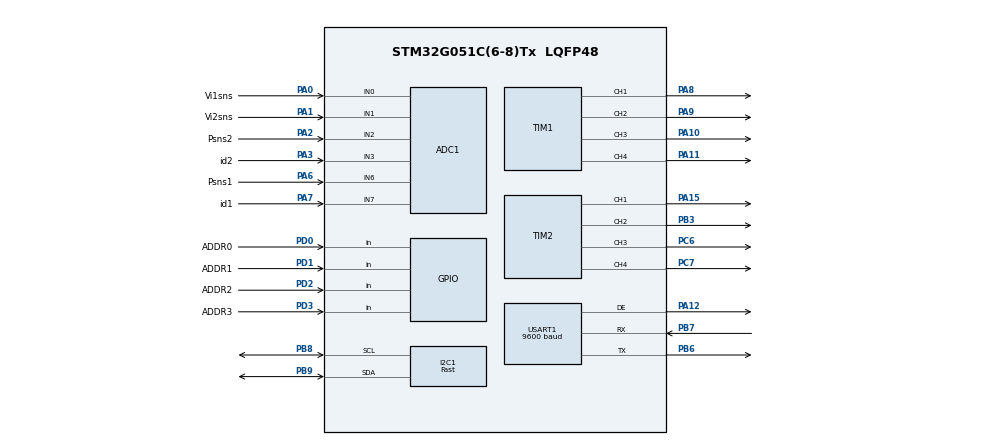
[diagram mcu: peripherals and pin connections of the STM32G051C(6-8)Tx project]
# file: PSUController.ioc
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ADC1.Channel-1\#ChannelRegularConversion=ADC_CHANNEL_TEMPSENSOR
ADC1.EnableAnalogWatchDog1=false
ADC1.NbrOfConversionFlag=1
ADC1.OversamplingMode=ENABLE
ADC1.Rank-1\#ChannelRegularConversion=1
ADC1.Ratio=ADC_OVERSAMPLING_RATIO_256
ADC1.RightBitShift=ADC_RIGHTBITSHIFT_4
ADC1.SamplingTime-1\#ChannelRegularConversion=ADC_SAMPLINGTIME_COMMON_1
ADC1.SelectedChannel=ADC_CHANNEL_0|ADC_CHANNEL_1|ADC_CHANNEL_2|ADC_CHANNEL_3|ADC_CHANNEL_6|ADC_CHANNEL_7|ADC_CHANNEL_TEMPSENSOR
ADC1.master=1
I2C1.I2C_Speed_Mode=I2C_Fast
I2C1.Timing=0x00C12166
Mcu.Family=STM32G0
Mcu.Name=STM32G051C(6-8)Tx
Mcu.Package=LQFP48
NVIC.USART1_IRQn=true\:0\:0\:false\:false\:true\:true\:true\:true
PA0.GPIO_Label=Vi1sns
PA0.Mode=IN0
PA0.Signal=ADC1_IN0
PA1.GPIO_Label=Vi2sns
PA1.Mode=IN1
PA1.Signal=ADC1_IN1
PA10.Signal=S_TIM1_CH3
PA11\ [PA9].Signal=S_TIM1_CH4
PA12\ [PA10].Mode=Hardware Flow Control (RS485)
PA12\ [PA10].Signal=USART1_DE
PA13.Mode=Serial_Wire
PA13.Signal=SYS_SWDIO
PA14-BOOT0.Mode=Serial_Wire
PA14-BOOT0.Signal=SYS_SWCLK
PA15.Signal=S_TIM2_CH1_ETR
PA2.GPIO_Label=Psns2
PA2.Mode=IN2
PA2.Signal=ADC1_IN2
PA3.GPIO_Label=id2
PA3.Mode=IN3
PA3.Signal=ADC1_IN3
PA6.GPIO_Label=Psns1
PA6.Mode=IN6
PA6.Signal=ADC1_IN6
PA7.GPIO_Label=id1
PA7.Mode=IN7
PA7.Signal=ADC1_IN7
PA8.Signal=S_TIM1_CH1
PA9.Signal=S_TIM1_CH2
PB3.Signal=S_TIM2_CH2
PB6.Mode=Asynchronous
PB6.Signal=USART1_TX
PB7.Mode=Asynchronous
PB7.Signal=USART1_RX
PB8.GPIO_Pu=GPIO_PULLUP
PB8.Mode=I2C
PB8.Signal=I2C1_SCL
PB9.GPIO_Pu=GPIO_PULLUP
PB9.Mode=I2C
PB9.Signal=I2C1_SDA
PC6.Signal=S_TIM2_CH3
PC7.Signal=S_TIM2_CH4
PD0.GPIO_Label=ADDR0
PD0.Signal=GPIO_Input
PD1.GPIO_Label=ADDR1
PD1.Signal=GPIO_Input
PD2.GPIO_Label=ADDR2
PD2.Signal=GPIO_Input
PD3.GPIO_Label=ADDR3
PD3.Signal=GPIO_Input
ProjectManager.HeapSize=0x200
ProjectManager.StackSize=0x400
ProjectManager.TargetToolchain=CMake
RCC.ADCFreq_Value=64000000
RCC.AHBFreq_Value=64000000
RCC.CortexFreq_Value=64000000
RCC.EXTERNAL_CLOCK_VALUE=48000
RCC.HCLKFreq_Value=64000000
RCC.HSE_VALUE=8000000
RCC.HSI_VALUE=16000000
RCC.LSE_VALUE=32768
RCC.SYSCLKFreq_VALUE=64000000
RCC.SYSCLKSource=RCC_SYSCLKSOURCE_PLLCLK
RCC.VCOOutputFreq_Value=128000000
SH.S_TIM1_CH1.0=TIM1_CH1,PWM Generation1 CH1
SH.S_TIM1_CH2.0=TIM1_CH2,PWM Generation2 CH2
SH.S_TIM1_CH3.0=TIM1_CH3,PWM Generation3 CH3
SH.S_TIM1_CH4.0=TIM1_CH4,PWM Generation4 CH4
SH.S_TIM2_CH1_ETR.0=TIM2_CH1,PWM Generation1 CH1
SH.S_TIM2_CH2.0=TIM2_CH2,PWM Generation2 CH2
SH.S_TIM2_CH3.0=TIM2_CH3,PWM Generation3 CH3
SH.S_TIM2_CH4.0=TIM2_CH4,PWM Generation4 CH4
TIM1.Channel-PWM\ Generation1\ CH1=TIM_CHANNEL_1
TIM1.Channel-PWM\ Generation2\ CH2=TIM_CHANNEL_2
TIM1.Channel-PWM\ Generation3\ CH3=TIM_CHANNEL_3
TIM1.Channel-PWM\ Generation4\ CH4=TIM_CHANNEL_4
TIM2.Channel-PWM\ Generation1\ CH1=TIM_CHANNEL_1
TIM2.Channel-PWM\ Generation2\ CH2=TIM_CHANNEL_2
TIM2.Channel-PWM\ Generation3\ CH3=TIM_CHANNEL_3
TIM2.Channel-PWM\ Generation4\ CH4=TIM_CHANNEL_4
USART1.AutoBaudRateEnableParam=UART_ADVFEATURE_AUTOBAUDRATE_DISABLE
USART1.BaudRate=9600
USART1.VirtualMode-Asynchronous=VM_ASYNC
USART1.VirtualMode-Hardware\ Flow\ Control\ (RS485)=VM_ASYNC
VP_ADC1_TempSens_Input.Mode=IN-TempSens
VP_CRC_VS_CRC.Mode=CRC_Activate
VP_LPTIM1_VS_LPTIM_counterModeInternalClock.Mode=Counts__internal_clock_event_00
VP_SYS_VS_DBSignals.Mode=DisableDeadBatterySignals
VP_SYS_V_VREFBUF.Mode=ExternalMode
VP_TIM1_VS_ClockSourceINT.Mode=Internal
VP_TIM2_VS_ClockSourceINT.Mode=Internal
board=custom

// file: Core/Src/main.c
/* USER CODE BEGIN Header */
/**
  ******************************************************************************
  * @file           : main.c
  * @brief          : Main program body
  ******************************************************************************
  * @attention
  *
  * Copyright (c) 2026 STMicroelectronics.
  * All rights reserved.
  *
  * This software is licensed under terms that can be found in the LICENSE file
  * in the root directory of this software component.
  * If no LICENSE file comes with this software, it is provided AS-IS.
  *
  ******************************************************************************
  */
/* USER CODE END Header */
#include "main.h"

/* USER CODE BEGIN Includes */
#include "eeprom.h"
#include "boardCommands.h"
#include "analogFunctions.h"
#include <string.h>
#include "stm32g0xx_hal_uart.h"
#include "stm32g0xx_ll_gpio.h"
#include "supportingFunctions.h"
#include "stm32_hal_legacy.h"
#include "stm32g051xx.h"
#include "stm32g0xx_hal_adc.h"
/* USER CODE END Includes */

ADC_HandleTypeDef hadc1;

I2C_HandleTypeDef hi2c1;

LPTIM_HandleTypeDef hlptim1;

TIM_HandleTypeDef htim1;
TIM_HandleTypeDef htim2;

UART_HandleTypeDef huart1;

void SystemClock_Config(void);
static void MX_GPIO_Init(void);
static void MX_CRC_Init(void);
static void MX_ADC1_Init(void);
static void MX_I2C1_Init(void);
static void MX_USART1_UART_Init(void);
static void MX_TIM1_Init(void);
static void MX_TIM2_Init(void);
static void MX_LPTIM1_Init(void);

int main(void)
{

  /* USER CODE BEGIN 1 */
  SCB->VTOR = 0x08000000; // Bugfix, doesn't work without that (sets correct interrupt vector table)

  /* USER CODE END 1 */

  /* MCU Configuration--------------------------------------------------------*/

  /* Reset of all peripherals, Initializes the Flash interface and the Systick. */
  HAL_Init();

  /* Configure the system clock */
  SystemClock_Config();

  /* Initialize all configured peripherals */
  MX_GPIO_Init();
  MX_CRC_Init();
  MX_ADC1_Init();
  MX_I2C1_Init();
  MX_USART1_UART_Init();
  MX_TIM1_Init();
  MX_TIM2_Init();
  MX_LPTIM1_Init();
  /* USER CODE BEGIN 2 */
  HAL_StatusTypeDef status;
  uint16_t DACvalue = 0;

  // EEPROM setup
  uint8_t eeprom_writeData[32] = {0};
  uint8_t eeprom_readData[32] = {0};
  struct eeprom memory = {&hi2c1, 0xA0, 2, 32};

  setupADCs();

    // Enable interrupt based communication for RS485 (UART)
    // Enable auto baud rate; USARTn_RQR_ABBRQ must be set. It fires only once until "USARTn->ISR ABRF" flag is cleared, done by writing "USART1->RQR = USART_RQR_ABRRQ"
    // USART1->CR2 |= (1 << USART_CR2_ABREN_Pos) | (0x03 << USART_CR2_ABRMODE_Pos);  // Enable Auto Baud Rate and set it to mode 3 (detect 0x55, 'D')
    USART1->CR1 |= USART_CR1_RXNEIE_RXFNEIE;  // Enable Rx interrupts

  /* USER CODE END 2 */

  /* Infinite loop */
  /* USER CODE BEGIN WHILE */

  while (1)
  {
    // // DAC test to validate functionality; DACs are 12b
    // status = HAL_DAC_SetValue(&hdac1, DAC_CHANNEL_1, DAC_ALIGN_12B_R, DACvalue);
    // status = HAL_DAC_SetValue(&hdac1, DAC_CHANNEL_2, DAC_ALIGN_12B_R, DACvalue);
    // DACvalue += 1;
    // HAL_Delay(2);

    // // I2C scanner; finds connected devices;
    // volatile uint8_t foo;
    // for (int i=0; i<128; i++){
    //   status = HAL_I2C_IsDeviceReady(&hi2c1, (uint8_t)i<<1, 1, 100);
    //   if (status == HAL_OK){
    //     foo=i;
    //   }
    // }

    // // EEPROM test to validate the functionality
    // uint16_t address = 0;
    // uint16_t size = 4;
    // status = EEPROM_Write(memory, address, size, eeprom_writeData, 1000);
    // status = EEPROM_Read(memory, address, size, eeprom_readData, 1000);
    // HAL_Delay(2);

    // // Demonstrate GPIO output
    // LL_GPIO_SetOutputPin(OUT_EN_GPIO_Port, OUT_EN_Pin);
    // HAL_Delay(1000);
    // LL_GPIO_ResetOutputPin(OUT_EN_GPIO_Port, OUT_EN_Pin);
    // HAL_Delay(1000);

    // Call the command processing routine (RS485)
    //USART1->RQR = USART_RQR_ABRRQ;  // Reenable ABR for testing purposes
    processCommand();

    /* USER CODE END WHILE */

  }
}

void SystemClock_Config(void)
{
  LL_FLASH_SetLatency(LL_FLASH_LATENCY_2);
  while(LL_FLASH_GetLatency() != LL_FLASH_LATENCY_2)
  {
  }

  /* HSI configuration and activation */
  LL_RCC_HSI_Enable();
  while(LL_RCC_HSI_IsReady() != 1)
  {
  }

  /* Main PLL configuration and activation */
  LL_RCC_PLL_ConfigDomain_SYS(LL_RCC_PLLSOURCE_HSI, LL_RCC_PLLM_DIV_1, 8, LL_RCC_PLLR_DIV_2);
  LL_RCC_PLL_Enable();
  LL_RCC_PLL_EnableDomain_SYS();
  while(LL_RCC_PLL_IsReady() != 1)
  {
  }

  /* Set AHB prescaler*/
  LL_RCC_SetAHBPrescaler(LL_RCC_SYSCLK_DIV_1);

  /* Sysclk activation on the main PLL */
  LL_RCC_SetSysClkSource(LL_RCC_SYS_CLKSOURCE_PLL);
  while(LL_RCC_GetSysClkSource() != LL_RCC_SYS_CLKSOURCE_STATUS_PLL)
  {
  }

  /* Set APB1 prescaler*/
  LL_RCC_SetAPB1Prescaler(LL_RCC_APB1_DIV_1);
  /* Update CMSIS variable (which can be updated also through SystemCoreClockUpdate function) */
  LL_SetSystemCoreClock(64000000);

   /* Update the time base */
  if (HAL_InitTick (TICK_INT_PRIORITY) != HAL_OK)
  {
    Error_Handler();
  }
}

static void MX_ADC1_Init(void)
{

  ADC_ChannelConfTypeDef sConfig = {0};

  /** Configure the global features of the ADC (Clock, Resolution, Data Alignment and number of conversion)
  */
  hadc1.Instance = ADC1;
  hadc1.Init.ClockPrescaler = ADC_CLOCK_SYNC_PCLK_DIV2;
  hadc1.Init.Resolution = ADC_RESOLUTION_12B;
  hadc1.Init.DataAlign = ADC_DATAALIGN_RIGHT;
  hadc1.Init.ScanConvMode = ADC_SCAN_DISABLE;
  hadc1.Init.EOCSelection = ADC_EOC_SINGLE_CONV;
  hadc1.Init.LowPowerAutoWait = DISABLE;
  hadc1.Init.LowPowerAutoPowerOff = DISABLE;
  hadc1.Init.ContinuousConvMode = DISABLE;
  hadc1.Init.NbrOfConversion = 1;
  hadc1.Init.DiscontinuousConvMode = DISABLE;
  hadc1.Init.ExternalTrigConv = ADC_SOFTWARE_START;
  hadc1.Init.ExternalTrigConvEdge = ADC_EXTERNALTRIGCONVEDGE_NONE;
  hadc1.Init.DMAContinuousRequests = DISABLE;
  hadc1.Init.Overrun = ADC_OVR_DATA_PRESERVED;
  hadc1.Init.SamplingTimeCommon1 = ADC_SAMPLETIME_1CYCLE_5;
  hadc1.Init.SamplingTimeCommon2 = ADC_SAMPLETIME_1CYCLE_5;
  hadc1.Init.OversamplingMode = ENABLE;
  hadc1.Init.Oversampling.Ratio = ADC_OVERSAMPLING_RATIO_256;
  hadc1.Init.Oversampling.RightBitShift = ADC_RIGHTBITSHIFT_4;
  hadc1.Init.Oversampling.TriggeredMode = ADC_TRIGGEREDMODE_SINGLE_TRIGGER;
  hadc1.Init.TriggerFrequencyMode = ADC_TRIGGER_FREQ_HIGH;
  if (HAL_ADC_Init(&hadc1) != HAL_OK)
  {
    Error_Handler();
  }

  /** Configure Regular Channel
  */
  sConfig.Channel = ADC_CHANNEL_TEMPSENSOR;
  sConfig.Rank = ADC_REGULAR_RANK_1;
  sConfig.SamplingTime = ADC_SAMPLINGTIME_COMMON_1;
  if (HAL_ADC_ConfigChannel(&hadc1, &sConfig) != HAL_OK)
  {
    Error_Handler();
  }

}

static void MX_CRC_Init(void)
{

  /* Peripheral clock enable */
  LL_AHB1_GRP1_EnableClock(LL_AHB1_GRP1_PERIPH_CRC);

  LL_CRC_SetInputDataReverseMode(CRC, LL_CRC_INDATA_REVERSE_NONE);
  LL_CRC_SetOutputDataReverseMode(CRC, LL_CRC_OUTDATA_REVERSE_NONE);
  LL_CRC_SetPolynomialCoef(CRC, LL_CRC_DEFAULT_CRC32_POLY);
  LL_CRC_SetPolynomialSize(CRC, LL_CRC_POLYLENGTH_32B);
  LL_CRC_SetInitialData(CRC, LL_CRC_DEFAULT_CRC_INITVALUE);

}

static void MX_I2C1_Init(void)
{

  hi2c1.Instance = I2C1;
  hi2c1.Init.Timing = 0x00C12166;
  hi2c1.Init.OwnAddress1 = 0;
  hi2c1.Init.AddressingMode = I2C_ADDRESSINGMODE_7BIT;
  hi2c1.Init.DualAddressMode = I2C_DUALADDRESS_DISABLE;
  hi2c1.Init.OwnAddress2 = 0;
  hi2c1.Init.OwnAddress2Masks = I2C_OA2_NOMASK;
  hi2c1.Init.GeneralCallMode = I2C_GENERALCALL_DISABLE;
  hi2c1.Init.NoStretchMode = I2C_NOSTRETCH_DISABLE;
  if (HAL_I2C_Init(&hi2c1) != HAL_OK)
  {
    Error_Handler();
  }

  /** Configure Analogue filter
  */
  if (HAL_I2CEx_ConfigAnalogFilter(&hi2c1, I2C_ANALOGFILTER_ENABLE) != HAL_OK)
  {
    Error_Handler();
  }

  /** Configure Digital filter
  */
  if (HAL_I2CEx_ConfigDigitalFilter(&hi2c1, 0) != HAL_OK)
  {
    Error_Handler();
  }

}

static void MX_LPTIM1_Init(void)
{

  hlptim1.Instance = LPTIM1;
  hlptim1.Init.Clock.Source = LPTIM_CLOCKSOURCE_APBCLOCK_LPOSC;
  hlptim1.Init.Clock.Prescaler = LPTIM_PRESCALER_DIV1;
  hlptim1.Init.Trigger.Source = LPTIM_TRIGSOURCE_SOFTWARE;
  hlptim1.Init.OutputPolarity = LPTIM_OUTPUTPOLARITY_HIGH;
  hlptim1.Init.UpdateMode = LPTIM_UPDATE_IMMEDIATE;
  hlptim1.Init.CounterSource = LPTIM_COUNTERSOURCE_INTERNAL;
  hlptim1.Init.Input1Source = LPTIM_INPUT1SOURCE_GPIO;
  hlptim1.Init.Input2Source = LPTIM_INPUT2SOURCE_GPIO;
  if (HAL_LPTIM_Init(&hlptim1) != HAL_OK)
  {
    Error_Handler();
  }

}

static void MX_TIM1_Init(void)
{

  TIM_ClockConfigTypeDef sClockSourceConfig = {0};
  TIM_MasterConfigTypeDef sMasterConfig = {0};
  TIM_OC_InitTypeDef sConfigOC = {0};
  TIM_BreakDeadTimeConfigTypeDef sBreakDeadTimeConfig = {0};

  htim1.Instance = TIM1;
  htim1.Init.Prescaler = 0;
  htim1.Init.CounterMode = TIM_COUNTERMODE_UP;
  htim1.Init.Period = 65535;
  htim1.Init.ClockDivision = TIM_CLOCKDIVISION_DIV1;
  htim1.Init.RepetitionCounter = 0;
  htim1.Init.AutoReloadPreload = TIM_AUTORELOAD_PRELOAD_DISABLE;
  if (HAL_TIM_Base_Init(&htim1) != HAL_OK)
  {
    Error_Handler();
  }
  sClockSourceConfig.ClockSource = TIM_CLOCKSOURCE_INTERNAL;
  if (HAL_TIM_ConfigClockSource(&htim1, &sClockSourceConfig) != HAL_OK)
  {
    Error_Handler();
  }
  if (HAL_TIM_PWM_Init(&htim1) != HAL_OK)
  {
    Error_Handler();
  }
  sMasterConfig.MasterOutputTrigger = TIM_TRGO_RESET;
  sMasterConfig.MasterOutputTrigger2 = TIM_TRGO2_RESET;
  sMasterConfig.MasterSlaveMode = TIM_MASTERSLAVEMODE_DISABLE;
  if (HAL_TIMEx_MasterConfigSynchronization(&htim1, &sMasterConfig) != HAL_OK)
  {
    Error_Handler();
  }
  sConfigOC.OCMode = TIM_OCMODE_PWM1;
  sConfigOC.Pulse = 0;
  sConfigOC.OCPolarity = TIM_OCPOLARITY_HIGH;
  sConfigOC.OCNPolarity = TIM_OCNPOLARITY_HIGH;
  sConfigOC.OCFastMode = TIM_OCFAST_DISABLE;
  sConfigOC.OCIdleState = TIM_OCIDLESTATE_RESET;
  sConfigOC.OCNIdleState = TIM_OCNIDLESTATE_RESET;
  if (HAL_TIM_PWM_ConfigChannel(&htim1, &sConfigOC, TIM_CHANNEL_1) != HAL_OK)
  {
    Error_Handler();
  }
  if (HAL_TIM_PWM_ConfigChannel(&htim1, &sConfigOC, TIM_CHANNEL_2) != HAL_OK)
  {
    Error_Handler();
  }
  if (HAL_TIM_PWM_ConfigChannel(&htim1, &sConfigOC, TIM_CHANNEL_3) != HAL_OK)
  {
    Error_Handler();
  }
  if (HAL_TIM_PWM_ConfigChannel(&htim1, &sConfigOC, TIM_CHANNEL_4) != HAL_OK)
  {
    Error_Handler();
  }
  sBreakDeadTimeConfig.OffStateRunMode = TIM_OSSR_DISABLE;
  sBreakDeadTimeConfig.OffStateIDLEMode = TIM_OSSI_DISABLE;
  sBreakDeadTimeConfig.LockLevel = TIM_LOCKLEVEL_OFF;
  sBreakDeadTimeConfig.DeadTime = 0;
  sBreakDeadTimeConfig.BreakState = TIM_BREAK_DISABLE;
  sBreakDeadTimeConfig.BreakPolarity = TIM_BREAKPOLARITY_HIGH;
  sBreakDeadTimeConfig.BreakFilter = 0;
  sBreakDeadTimeConfig.BreakAFMode = TIM_BREAK_AFMODE_INPUT;
  sBreakDeadTimeConfig.Break2State = TIM_BREAK2_DISABLE;
  sBreakDeadTimeConfig.Break2Polarity = TIM_BREAK2POLARITY_HIGH;
  sBreakDeadTimeConfig.Break2Filter = 0;
  sBreakDeadTimeConfig.Break2AFMode = TIM_BREAK_AFMODE_INPUT;
  sBreakDeadTimeConfig.AutomaticOutput = TIM_AUTOMATICOUTPUT_DISABLE;
  if (HAL_TIMEx_ConfigBreakDeadTime(&htim1, &sBreakDeadTimeConfig) != HAL_OK)
  {
    Error_Handler();
  }
  HAL_TIM_MspPostInit(&htim1);

}

static void MX_TIM2_Init(void)
{

  TIM_ClockConfigTypeDef sClockSourceConfig = {0};
  TIM_MasterConfigTypeDef sMasterConfig = {0};
  TIM_OC_InitTypeDef sConfigOC = {0};

  htim2.Instance = TIM2;
  htim2.Init.Prescaler = 0;
  htim2.Init.CounterMode = TIM_COUNTERMODE_UP;
  htim2.Init.Period = 4294967295;
  htim2.Init.ClockDivision = TIM_CLOCKDIVISION_DIV1;
  htim2.Init.AutoReloadPreload = TIM_AUTORELOAD_PRELOAD_DISABLE;
  if (HAL_TIM_Base_Init(&htim2) != HAL_OK)
  {
    Error_Handler();
  }
  sClockSourceConfig.ClockSource = TIM_CLOCKSOURCE_INTERNAL;
  if (HAL_TIM_ConfigClockSource(&htim2, &sClockSourceConfig) != HAL_OK)
  {
    Error_Handler();
  }
  if (HAL_TIM_PWM_Init(&htim2) != HAL_OK)
  {
    Error_Handler();
  }
  sMasterConfig.MasterOutputTrigger = TIM_TRGO_RESET;
  sMasterConfig.MasterSlaveMode = TIM_MASTERSLAVEMODE_DISABLE;
  if (HAL_TIMEx_MasterConfigSynchronization(&htim2, &sMasterConfig) != HAL_OK)
  {
    Error_Handler();
  }
  sConfigOC.OCMode = TIM_OCMODE_PWM1;
  sConfigOC.Pulse = 0;
  sConfigOC.OCPolarity = TIM_OCPOLARITY_HIGH;
  sConfigOC.OCFastMode = TIM_OCFAST_DISABLE;
  if (HAL_TIM_PWM_ConfigChannel(&htim2, &sConfigOC, TIM_CHANNEL_1) != HAL_OK)
  {
    Error_Handler();
  }
  if (HAL_TIM_PWM_ConfigChannel(&htim2, &sConfigOC, TIM_CHANNEL_2) != HAL_OK)
  {
    Error_Handler();
  }
  if (HAL_TIM_PWM_ConfigChannel(&htim2, &sConfigOC, TIM_CHANNEL_3) != HAL_OK)
  {
    Error_Handler();
  }
  if (HAL_TIM_PWM_ConfigChannel(&htim2, &sConfigOC, TIM_CHANNEL_4) != HAL_OK)
  {
    Error_Handler();
  }
  HAL_TIM_MspPostInit(&htim2);

}

static void MX_USART1_UART_Init(void)
{

  huart1.Instance = USART1;
  huart1.Init.BaudRate = 9600;
  huart1.Init.WordLength = UART_WORDLENGTH_8B;
  huart1.Init.StopBits = UART_STOPBITS_1;
  huart1.Init.Parity = UART_PARITY_NONE;
  huart1.Init.Mode = UART_MODE_TX_RX;
  huart1.Init.HwFlowCtl = UART_HWCONTROL_NONE;
  huart1.Init.OverSampling = UART_OVERSAMPLING_16;
  huart1.Init.OneBitSampling = UART_ONE_BIT_SAMPLE_DISABLE;
  huart1.Init.ClockPrescaler = UART_PRESCALER_DIV1;
  huart1.AdvancedInit.AdvFeatureInit = UART_ADVFEATURE_NO_INIT;
  if (HAL_RS485Ex_Init(&huart1, UART_DE_POLARITY_HIGH, 0, 0) != HAL_OK)
  {
    Error_Handler();
  }
  if (HAL_UARTEx_SetTxFifoThreshold(&huart1, UART_TXFIFO_THRESHOLD_1_8) != HAL_OK)
  {
    Error_Handler();
  }
  if (HAL_UARTEx_SetRxFifoThreshold(&huart1, UART_RXFIFO_THRESHOLD_1_8) != HAL_OK)
  {
    Error_Handler();
  }
  if (HAL_UARTEx_DisableFifoMode(&huart1) != HAL_OK)
  {
    Error_Handler();
  }

}

static void MX_GPIO_Init(void)
{
  LL_GPIO_InitTypeDef GPIO_InitStruct = {0};

  /* GPIO Ports Clock Enable */
  LL_IOP_GRP1_EnableClock(LL_IOP_GRP1_PERIPH_GPIOA);
  LL_IOP_GRP1_EnableClock(LL_IOP_GRP1_PERIPH_GPIOC);
  LL_IOP_GRP1_EnableClock(LL_IOP_GRP1_PERIPH_GPIOD);
  LL_IOP_GRP1_EnableClock(LL_IOP_GRP1_PERIPH_GPIOB);

  /**/
  GPIO_InitStruct.Pin = ADDR0_Pin;
  GPIO_InitStruct.Mode = LL_GPIO_MODE_INPUT;
  GPIO_InitStruct.Pull = LL_GPIO_PULL_NO;
  LL_GPIO_Init(ADDR0_GPIO_Port, &GPIO_InitStruct);

  /**/
  GPIO_InitStruct.Pin = ADDR1_Pin;
  GPIO_InitStruct.Mode = LL_GPIO_MODE_INPUT;
  GPIO_InitStruct.Pull = LL_GPIO_PULL_NO;
  LL_GPIO_Init(ADDR1_GPIO_Port, &GPIO_InitStruct);

  /**/
  GPIO_InitStruct.Pin = ADDR2_Pin;
  GPIO_InitStruct.Mode = LL_GPIO_MODE_INPUT;
  GPIO_InitStruct.Pull = LL_GPIO_PULL_NO;
  LL_GPIO_Init(ADDR2_GPIO_Port, &GPIO_InitStruct);

  /**/
  GPIO_InitStruct.Pin = ADDR3_Pin;
  GPIO_InitStruct.Mode = LL_GPIO_MODE_INPUT;
  GPIO_InitStruct.Pull = LL_GPIO_PULL_NO;
  LL_GPIO_Init(ADDR3_GPIO_Port, &GPIO_InitStruct);

}

void Error_Handler(void)
{
  __disable_irq();
  while (1)
  {
  }
}
